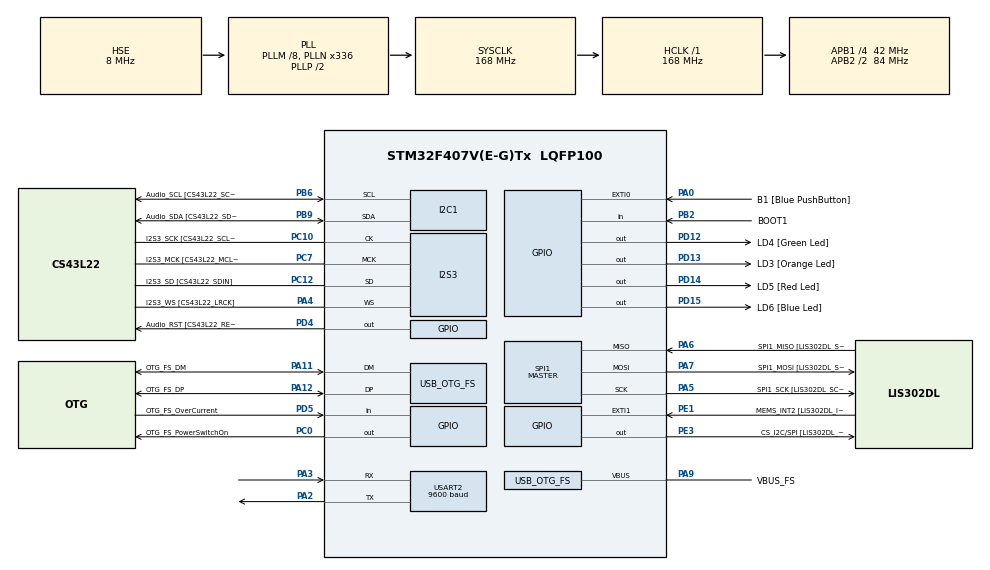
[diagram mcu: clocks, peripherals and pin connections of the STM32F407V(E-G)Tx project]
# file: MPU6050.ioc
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I2S3.AudioFreq-Half_Duplex_Master=I2S_AUDIOFREQ_96K
I2S3.ErrorAudioFreq=-2.34 %
I2S3.ErrorAudioFreq-Half_Duplex_Master=0.8 %
I2S3.FullDuplexMode=I2S_FULLDUPLEXMODE_DISABLE
I2S3.Instance=SPI$Index
I2S3.RealAudioFreq=93.75 KHz
I2S3.RealAudioFreq-Half_Duplex_Master=96.774 KHz
I2S3.VirtualMode=I2S_MODE_MASTER
Mcu.Family=STM32F4
Mcu.Name=STM32F407V(E-G)Tx
Mcu.Package=LQFP100
NVIC.OTG_FS_IRQn=true\:0\:0\:false\:false\:true\:true\:true\:true
NVIC.PriorityGroup=NVIC_PRIORITYGROUP_0
PA0-WKUP.GPIO_Label=B1 [Blue PushButton]
PA0-WKUP.GPIO_ModeDefaultEXTI=GPIO_MODE_EVT_RISING
PA0-WKUP.GPIO_PuPd=GPIO_NOPULL
PA0-WKUP.Signal=GPXTI0
PA10.GPIO_Label=OTG_FS_ID
PA10.GPIO_Mode=GPIO_MODE_AF_PP
PA10.GPIO_PuPd=GPIO_NOPULL
PA10.GPIO_Speed=GPIO_SPEED_FREQ_LOW
PA10.Signal=USB_OTG_FS_ID
PA11.GPIO_Label=OTG_FS_DM
PA11.GPIO_Mode=GPIO_MODE_AF_PP
PA11.GPIO_PuPd=GPIO_NOPULL
PA11.GPIO_Speed=GPIO_SPEED_FREQ_LOW
PA11.Mode=Host_Only
PA11.Signal=USB_OTG_FS_DM
PA12.GPIO_Label=OTG_FS_DP
PA12.GPIO_Mode=GPIO_MODE_AF_PP
PA12.GPIO_PuPd=GPIO_NOPULL
PA12.GPIO_Speed=GPIO_SPEED_FREQ_LOW
PA12.Mode=Host_Only
PA12.Signal=USB_OTG_FS_DP
PA13.GPIO_Label=SWDIO
PA13.Mode=Serial_Wire
PA13.Signal=SYS_JTMS-SWDIO
PA14.GPIO_Label=SWCLK
PA14.Mode=Serial_Wire
PA14.Signal=SYS_JTCK-SWCLK
PA2.Mode=Asynchronous
PA2.Signal=USART2_TX
PA3.Mode=Asynchronous
PA3.Signal=USART2_RX
PA4.GPIO_Label=I2S3_WS [CS43L22_LRCK]
PA4.GPIO_Mode=GPIO_MODE_AF_PP
PA4.GPIO_PuPd=GPIO_NOPULL
PA4.GPIO_Speed=GPIO_SPEED_FREQ_LOW
PA4.Mode=Half_Duplex_Master
PA4.Signal=I2S3_WS
PA5.GPIO_Label=SPI1_SCK [LIS302DL_SCL/SPC]
PA5.GPIO_Mode=GPIO_MODE_AF_PP
PA5.GPIO_PuPd=GPIO_NOPULL
PA5.GPIO_Speed=GPIO_SPEED_FREQ_LOW
PA5.Mode=Full_Duplex_Master
PA5.Signal=SPI1_SCK
PA6.GPIO_Label=SPI1_MISO [LIS302DL_SDO]
PA6.GPIO_Mode=GPIO_MODE_AF_PP
PA6.GPIO_PuPd=GPIO_NOPULL
PA6.GPIO_Speed=GPIO_SPEED_FREQ_LOW
PA6.Mode=Full_Duplex_Master
PA6.Signal=SPI1_MISO
PA7.GPIO_Label=SPI1_MOSI [LIS302DL_SDA/SDI/SDO]
PA7.GPIO_Mode=GPIO_MODE_AF_PP
PA7.GPIO_PuPd=GPIO_NOPULL
PA7.GPIO_Speed=GPIO_SPEED_FREQ_LOW
PA7.Mode=Full_Duplex_Master
PA7.Signal=SPI1_MOSI
PA9.GPIO_Label=VBUS_FS
PA9.GPIO_Mode=GPIO_MODE_INPUT
PA9.GPIO_PuPd=GPIO_NOPULL
PA9.Mode=Activate_VBUS
PA9.Signal=USB_OTG_FS_VBUS
PB10.GPIO_Label=CLK_IN [MP45DT02_CLK]
PB10.GPIO_Mode=GPIO_MODE_AF_PP
PB10.GPIO_PuPd=GPIO_NOPULL
PB10.GPIO_Speed=GPIO_SPEED_FREQ_LOW
PB10.Signal=I2S2_CK
PB2.GPIO_Label=BOOT1
PB2.GPIO_Mode=GPIO_MODE_INPUT
PB2.GPIO_PuPd=GPIO_NOPULL
PB2.Signal=GPIO_Input
PB3.GPIO_Label=SWO
PB3.Signal=SYS_JTDO-SWO
PB6.GPIO_Label=Audio_SCL [CS43L22_SCL]
PB6.GPIO_Mode=GPIO_MODE_AF_OD
PB6.GPIO_Pu=GPIO_PULLUP
PB6.GPIO_PuPd=GPIO_NOPULL
PB6.GPIO_Speed=GPIO_SPEED_FREQ_LOW
PB6.Mode=I2C
PB6.Signal=I2C1_SCL
PB9.GPIO_Label=Audio_SDA [CS43L22_SDA]
PB9.GPIO_Mode=GPIO_MODE_AF_OD
PB9.GPIO_Pu=GPIO_PULLUP
PB9.GPIO_PuPd=GPIO_NOPULL
PB9.GPIO_Speed=GPIO_SPEED_FREQ_LOW
PB9.Mode=I2C
PB9.Signal=I2C1_SDA
PC0.GPIO_Label=OTG_FS_PowerSwitchOn
PC0.GPIO_PuPd=GPIO_NOPULL
PC0.GPIO_Speed=GPIO_SPEED_FREQ_LOW
PC0.PinState=GPIO_PIN_SET
PC0.Signal=GPIO_Output
PC10.GPIO_Label=I2S3_SCK [CS43L22_SCLK]
PC10.GPIO_Mode=GPIO_MODE_AF_PP
PC10.GPIO_PuPd=GPIO_NOPULL
PC10.GPIO_Speed=GPIO_SPEED_FREQ_LOW
PC10.Mode=Half_Duplex_Master
PC10.Signal=I2S3_CK
PC12.GPIO_Label=I2S3_SD [CS43L22_SDIN]
PC12.GPIO_Mode=GPIO_MODE_AF_PP
PC12.GPIO_PuPd=GPIO_NOPULL
PC12.GPIO_Speed=GPIO_SPEED_FREQ_LOW
PC12.Mode=Half_Duplex_Master
PC12.Signal=I2S3_SD
PC14-OSC32_IN.GPIO_Label=PC14-OSC32_IN
PC14-OSC32_IN.Mode=LSE-External-Oscillator
PC14-OSC32_IN.Signal=RCC_OSC32_IN
PC15-OSC32_OUT.GPIO_Label=PC15-OSC32_OUT
PC15-OSC32_OUT.Mode=LSE-External-Oscillator
PC15-OSC32_OUT.Signal=RCC_OSC32_OUT
PC3.GPIO_Label=PDM_OUT [MP45DT02_DOUT]
PC3.GPIO_Mode=GPIO_MODE_AF_PP
PC3.GPIO_PuPd=GPIO_NOPULL
PC3.GPIO_Speed=GPIO_SPEED_FREQ_LOW
PC3.Signal=I2S2_SD
PC7.GPIO_Label=I2S3_MCK [CS43L22_MCLK]
PC7.GPIO_Mode=GPIO_MODE_AF_PP
PC7.GPIO_PuPd=GPIO_NOPULL
PC7.GPIO_Speed=GPIO_SPEED_FREQ_LOW
PC7.Mode=Master_Clock_Activated
PC7.Signal=I2S3_MCK
PD12.GPIO_Label=LD4 [Green Led]
PD12.GPIO_PuPd=GPIO_NOPULL
PD12.GPIO_Speed=GPIO_SPEED_FREQ_LOW
PD12.Signal=GPIO_Output
PD13.GPIO_Label=LD3 [Orange Led]
PD13.GPIO_PuPd=GPIO_NOPULL
PD13.GPIO_Speed=GPIO_SPEED_FREQ_LOW
PD13.Signal=GPIO_Output
PD14.GPIO_Label=LD5 [Red Led]
PD14.GPIO_PuPd=GPIO_NOPULL
PD14.GPIO_Speed=GPIO_SPEED_FREQ_LOW
PD14.Signal=GPIO_Output
PD15.GPIO_Label=LD6 [Blue Led]
PD15.GPIO_PuPd=GPIO_NOPULL
PD15.GPIO_Speed=GPIO_SPEED_FREQ_LOW
PD15.Signal=GPIO_Output
PD4.GPIO_Label=Audio_RST [CS43L22_RESET]
PD4.GPIO_PuPd=GPIO_NOPULL
PD4.GPIO_Speed=GPIO_SPEED_FREQ_LOW
PD4.Signal=GPIO_Output
PD5.GPIO_Label=OTG_FS_OverCurrent
PD5.GPIO_Mode=GPIO_MODE_INPUT
PD5.GPIO_PuPd=GPIO_NOPULL
PD5.Signal=GPIO_Input
PE1.GPIO_Label=MEMS_INT2 [LIS302DL_INT2]
PE1.GPIO_ModeDefaultEXTI=GPIO_MODE_EVT_RISING
PE1.GPIO_PuPd=GPIO_NOPULL
PE1.Signal=GPXTI1
PE3.GPIO_Label=CS_I2C/SPI [LIS302DL_CS_I2C/SPI]
PE3.GPIO_PuPd=GPIO_NOPULL
PE3.GPIO_Speed=GPIO_SPEED_FREQ_LOW
PE3.Signal=GPIO_Output
PH0-OSC_IN.GPIO_Label=PH0-OSC_IN
PH0-OSC_IN.Mode=HSE-External-Oscillator
PH0-OSC_IN.Signal=RCC_OSC_IN
PH1-OSC_OUT.GPIO_Label=PH1-OSC_OUT
PH1-OSC_OUT.Mode=HSE-External-Oscillator
PH1-OSC_OUT.Signal=RCC_OSC_OUT
ProjectManager.HeapSize=0x200
ProjectManager.StackSize=0x400
ProjectManager.TargetToolchain=STM32CubeIDE
RCC.48MHZClocksFreq_Value=48000000
RCC.AHBFreq_Value=168000000
RCC.APB1CLKDivider=RCC_HCLK_DIV4
RCC.APB1Freq_Value=42000000
RCC.APB1TimFreq_Value=84000000
RCC.APB2CLKDivider=RCC_HCLK_DIV2
RCC.APB2Freq_Value=84000000
RCC.APB2TimFreq_Value=168000000
RCC.CortexFreq_Value=168000000
RCC.HCLKFreq_Value=168000000
RCC.HSE_VALUE=8000000
RCC.HSI_VALUE=16000000
RCC.PLLM=8
RCC.PLLN=336
RCC.PLLQ=7
RCC.SYSCLKFreq_VALUE=168000000
RCC.SYSCLKSource=RCC_SYSCLKSOURCE_PLLCLK
RCC.VCOOutputFreq_Value=336000000
SPI1.BaudRatePrescaler-Full_Duplex_Master=SPI_BAUDRATEPRESCALER_2
SPI1.CalculateBaudRate-Full_Duplex_Master=42.0 MBits/s
SPI1.Direction=SPI_DIRECTION_2LINES
SPI1.Mode=SPI_MODE_MASTER
SPI1.Mode-Full_Duplex_Master=SPI_MODE_MASTER
SPI1.VirtualType=VM_MASTER
USART2.BaudRate=9600
USART2.VirtualMode=VM_ASYNC
USB_HOST.BSP.number=1
USB_HOST.USBH_HandleTypeDef-CDC_FS=hUsbHostFS
USB_HOST.VirtualModeFS=Cdc
USB_HOST0.BSP.STBoard=false
USB_HOST0.BSP.api=Unknown
USB_HOST0.BSP.instance=PC0
USB_HOST0.BSP.ip=GPIO
USB_HOST0.BSP.mode=Output
USB_HOST0.BSP.name=Drive_VBUS_FS
USB_HOST0.BSP.solution=PC0
USB_OTG_FS.VirtualMode=Host_Only
USB_OTG_FS.phy_itface=HCD_PHY_EMBEDDED
VP_USB_HOST_VS_USB_HOST_CDC_FS.Mode=CDC_FS
board=STM32F407G-DISC1

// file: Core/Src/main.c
/* USER CODE BEGIN Header */
/**
 ******************************************************************************
 * @file           : main.c
 * @brief          : Main program body
 ******************************************************************************
 * @attention
 *
 * Copyright (c) 2025 STMicroelectronics.
 * All rights reserved.
 *
 * This software is licensed under terms that can be found in the LICENSE file
 * in the root directory of this software component.
 * If no LICENSE file comes with this software, it is provided AS-IS.
 *
 ******************************************************************************
 */
/* USER CODE END Header */
#include "main.h"
#include "usb_host.h"
#include <stdio.h>
#include <string.h>

/* USER CODE BEGIN PD */
#define MPU6050_REG_PWR_MGMT_1    0x6B
#define MPU6050_REG_ACCEL_XOUT_H  0x3B
#define MPU6050_REG_WHO_AM_I      0x75
#define MPU6050_ADDR              0x68 << 1 // MPU6050 I2C address (shifted for HAL I2C)
#define MPU6050_REG_GYRO_XOUT_H   0x43
#define MPU6050_REG_TEMP_OUT_H    0x41

/* USER CODE END PD */

I2C_HandleTypeDef hi2c1;

I2S_HandleTypeDef hi2s3;

SPI_HandleTypeDef hspi1;

UART_HandleTypeDef huart2;

void SystemClock_Config(void);
static void MX_GPIO_Init(void);
static void MX_I2C1_Init(void);
static void MX_I2S3_Init(void);
static void MX_SPI1_Init(void);
static void MX_USART2_UART_Init(void);
void MX_USB_HOST_Process(void);
void MPU6050_Init(void);
void MPU6050_Read_Accel(int16_t *accel_data);

/* USER CODE BEGIN 0 */

// Initialize MPU6050
void MPU6050_Init(void) {
	uint8_t check, data;

	// Check MPU6050 device ID
	HAL_I2C_Mem_Read(&hi2c1, MPU6050_ADDR, MPU6050_REG_WHO_AM_I, 1, &check, 1,
			100);

	if (check == 0x68) { // 0x68 is the expected device ID
		// Wake up MPU6050 by writing 0 to PWR_MGMT_1 register
		data = 0x00;
		HAL_I2C_Mem_Write(&hi2c1, MPU6050_ADDR, MPU6050_REG_PWR_MGMT_1, 1,
				&data, 1, 100);

		HAL_UART_Transmit(&huart2, (uint8_t*) "MPU6050 initialized\r\n", 21,
		HAL_MAX_DELAY);
	} else {
		HAL_UART_Transmit(&huart2,
				(uint8_t*) "Failed to initialize MPU6050\r\n", 30,
				HAL_MAX_DELAY);
	}
}

// Read accelerometer data
void MPU6050_Read_Accel(int16_t *accel_data) {
	uint8_t data[6];

	// Read 6 bytes of data starting from ACCEL_XOUT_H register
	HAL_I2C_Mem_Read(&hi2c1, MPU6050_ADDR, MPU6050_REG_ACCEL_XOUT_H, 1, data, 6,
			100);

	// Combine the high and low bytes
	accel_data[0] = (int16_t) (data[0] << 8 | data[1]);  // X-axis
	accel_data[1] = (int16_t) (data[2] << 8 | data[3]);  // Y-axis
	accel_data[2] = (int16_t) (data[4] << 8 | data[5]);  // Z-axis
}

//Read gyroscope data
void MPU6050_Read_Gyro(int16_t *gyro_data) {
	uint8_t data[6];

	// Read 6 bytes of data starting from GYRO_XOUT_H register
	HAL_I2C_Mem_Read(&hi2c1, MPU6050_ADDR, MPU6050_REG_GYRO_XOUT_H, 1, data, 6,
			100);

	// Combine the high and low bytes
	gyro_data[0] = (int16_t) (data[0] << 8 | data[1]);  // X-axis
	gyro_data[1] = (int16_t) (data[2] << 8 | data[3]);  // Y-axis
	gyro_data[2] = (int16_t) (data[4] << 8 | data[5]);  // Z-axis
}

// Read temperature data (optional, not used in this example)
void MPU6050_Read_Temp(int16_t *temp_data) {
	uint8_t data[2];

	// Read 2 bytes of data starting from TEMP_OUT_H register
	HAL_I2C_Mem_Read(&hi2c1, MPU6050_ADDR, MPU6050_REG_TEMP_OUT_H, 1, data, 2,
			100);

	// Combine the high and low bytes
	*temp_data = (int16_t) (data[0] << 8 | data[1]);
}

/* USER CODE END 0 */

int main(void) {

	/* MCU Configuration--------------------------------------------------------*/

	/* Reset of all peripherals, Initializes the Flash interface and the Systick. */
	HAL_Init();

	/* Configure the system clock */
	SystemClock_Config();

	/* Initialize all configured peripherals */
	MX_GPIO_Init();
	MX_I2C1_Init();
	MX_I2S3_Init();
	MX_SPI1_Init();
	MX_USB_HOST_Init();
	MX_USART2_UART_Init();

	/* Infinite loop */
	while (1) {
		MX_USB_HOST_Process();

		/* USER CODE BEGIN 3 */
		// Initialize MPU6050
		MPU6050_Init();
		// Wait a bit for stable readings
		HAL_Delay(100);

		// Read and display accelerometer data
		int16_t accel_data[3];
		int16_t gyro_data[3];
		int16_t temp_data;
		MPU6050_Read_Accel(accel_data);
		MPU6050_Read_Gyro(gyro_data);
		MPU6050_Read_Temp(&temp_data);

		// Convert to string and display
		char buffer[100];
		sprintf(buffer, "Accel X: %d, Y: %d, Z: %d\r\n", accel_data[0],
				accel_data[1], accel_data[2]);
		HAL_UART_Transmit(&huart2, (uint8_t*) buffer, strlen(buffer),
		HAL_MAX_DELAY);
		sprintf(buffer, "Gyro X: %d, Y: %d, Z: %d\r\n", gyro_data[0],
				gyro_data[1], gyro_data[2]);
		HAL_UART_Transmit(&huart2, (uint8_t*) buffer, strlen(buffer),
		HAL_MAX_DELAY);
		sprintf(buffer, "Temp: %d\r\n", temp_data);
		HAL_UART_Transmit(&huart2, (uint8_t*) buffer, strlen(buffer),
		HAL_MAX_DELAY);

		// Wait before next reading
		HAL_Delay(2000);

	}
	/* USER CODE END 3 */
}

void SystemClock_Config(void) {
	RCC_OscInitTypeDef RCC_OscInitStruct = { 0 };
	RCC_ClkInitTypeDef RCC_ClkInitStruct = { 0 };

	/** Configure the main internal regulator output voltage
	 */
	__HAL_RCC_PWR_CLK_ENABLE();
	__HAL_PWR_VOLTAGESCALING_CONFIG(PWR_REGULATOR_VOLTAGE_SCALE1);

	/** Initializes the RCC Oscillators according to the specified parameters
	 * in the RCC_OscInitTypeDef structure.
	 */
	RCC_OscInitStruct.OscillatorType = RCC_OSCILLATORTYPE_HSE;
	RCC_OscInitStruct.HSEState = RCC_HSE_ON;
	RCC_OscInitStruct.PLL.PLLState = RCC_PLL_ON;
	RCC_OscInitStruct.PLL.PLLSource = RCC_PLLSOURCE_HSE;
	RCC_OscInitStruct.PLL.PLLM = 8;
	RCC_OscInitStruct.PLL.PLLN = 336;
	RCC_OscInitStruct.PLL.PLLP = RCC_PLLP_DIV2;
	RCC_OscInitStruct.PLL.PLLQ = 7;
	if (HAL_RCC_OscConfig(&RCC_OscInitStruct) != HAL_OK) {
		Error_Handler();
	}

	/** Initializes the CPU, AHB and APB buses clocks
	 */
	RCC_ClkInitStruct.ClockType = RCC_CLOCKTYPE_HCLK | RCC_CLOCKTYPE_SYSCLK
			| RCC_CLOCKTYPE_PCLK1 | RCC_CLOCKTYPE_PCLK2;
	RCC_ClkInitStruct.SYSCLKSource = RCC_SYSCLKSOURCE_PLLCLK;
	RCC_ClkInitStruct.AHBCLKDivider = RCC_SYSCLK_DIV1;
	RCC_ClkInitStruct.APB1CLKDivider = RCC_HCLK_DIV4;
	RCC_ClkInitStruct.APB2CLKDivider = RCC_HCLK_DIV2;

	if (HAL_RCC_ClockConfig(&RCC_ClkInitStruct, FLASH_LATENCY_5) != HAL_OK) {
		Error_Handler();
	}
}

static void MX_I2C1_Init(void) {

	hi2c1.Instance = I2C1;
	hi2c1.Init.ClockSpeed = 100000;
	hi2c1.Init.DutyCycle = I2C_DUTYCYCLE_2;
	hi2c1.Init.OwnAddress1 = 0;
	hi2c1.Init.AddressingMode = I2C_ADDRESSINGMODE_7BIT;
	hi2c1.Init.DualAddressMode = I2C_DUALADDRESS_DISABLE;
	hi2c1.Init.OwnAddress2 = 0;
	hi2c1.Init.GeneralCallMode = I2C_GENERALCALL_DISABLE;
	hi2c1.Init.NoStretchMode = I2C_NOSTRETCH_DISABLE;
	if (HAL_I2C_Init(&hi2c1) != HAL_OK) {
		Error_Handler();
	}

}

static void MX_I2S3_Init(void) {

	hi2s3.Instance = SPI3;
	hi2s3.Init.Mode = I2S_MODE_MASTER_TX;
	hi2s3.Init.Standard = I2S_STANDARD_PHILIPS;
	hi2s3.Init.DataFormat = I2S_DATAFORMAT_16B;
	hi2s3.Init.MCLKOutput = I2S_MCLKOUTPUT_ENABLE;
	hi2s3.Init.AudioFreq = I2S_AUDIOFREQ_96K;
	hi2s3.Init.CPOL = I2S_CPOL_LOW;
	hi2s3.Init.ClockSource = I2S_CLOCK_PLL;
	hi2s3.Init.FullDuplexMode = I2S_FULLDUPLEXMODE_DISABLE;
	if (HAL_I2S_Init(&hi2s3) != HAL_OK) {
		Error_Handler();
	}

}

static void MX_SPI1_Init(void) {

	/* SPI1 parameter configuration*/
	hspi1.Instance = SPI1;
	hspi1.Init.Mode = SPI_MODE_MASTER;
	hspi1.Init.Direction = SPI_DIRECTION_2LINES;
	hspi1.Init.DataSize = SPI_DATASIZE_8BIT;
	hspi1.Init.CLKPolarity = SPI_POLARITY_LOW;
	hspi1.Init.CLKPhase = SPI_PHASE_1EDGE;
	hspi1.Init.NSS = SPI_NSS_SOFT;
	hspi1.Init.BaudRatePrescaler = SPI_BAUDRATEPRESCALER_2;
	hspi1.Init.FirstBit = SPI_FIRSTBIT_MSB;
	hspi1.Init.TIMode = SPI_TIMODE_DISABLE;
	hspi1.Init.CRCCalculation = SPI_CRCCALCULATION_DISABLE;
	hspi1.Init.CRCPolynomial = 10;
	if (HAL_SPI_Init(&hspi1) != HAL_OK) {
		Error_Handler();
	}

}

static void MX_USART2_UART_Init(void) {

	huart2.Instance = USART2;
	huart2.Init.BaudRate = 9600;
	huart2.Init.WordLength = UART_WORDLENGTH_8B;
	huart2.Init.StopBits = UART_STOPBITS_1;
	huart2.Init.Parity = UART_PARITY_NONE;
	huart2.Init.Mode = UART_MODE_TX_RX;
	huart2.Init.HwFlowCtl = UART_HWCONTROL_NONE;
	huart2.Init.OverSampling = UART_OVERSAMPLING_16;
	if (HAL_UART_Init(&huart2) != HAL_OK) {
		Error_Handler();
	}

}

static void MX_GPIO_Init(void) {
	GPIO_InitTypeDef GPIO_InitStruct = { 0 };

	/* GPIO Ports Clock Enable */
	__HAL_RCC_GPIOE_CLK_ENABLE();
	__HAL_RCC_GPIOC_CLK_ENABLE();
	__HAL_RCC_GPIOH_CLK_ENABLE();
	__HAL_RCC_GPIOA_CLK_ENABLE();
	__HAL_RCC_GPIOB_CLK_ENABLE();
	__HAL_RCC_GPIOD_CLK_ENABLE();

	/*Configure GPIO pin Output Level */
	HAL_GPIO_WritePin(CS_I2C_SPI_GPIO_Port, CS_I2C_SPI_Pin, GPIO_PIN_RESET);

	/*Configure GPIO pin Output Level */
	HAL_GPIO_WritePin(OTG_FS_PowerSwitchOn_GPIO_Port,
	OTG_FS_PowerSwitchOn_Pin, GPIO_PIN_SET);

	/*Configure GPIO pin Output Level */
	HAL_GPIO_WritePin(GPIOD,
	LD4_Pin | LD3_Pin | LD5_Pin | LD6_Pin | Audio_RST_Pin, GPIO_PIN_RESET);

	/*Configure GPIO pin : CS_I2C_SPI_Pin */
	GPIO_InitStruct.Pin = CS_I2C_SPI_Pin;
	GPIO_InitStruct.Mode = GPIO_MODE_OUTPUT_PP;
	GPIO_InitStruct.Pull = GPIO_NOPULL;
	GPIO_InitStruct.Speed = GPIO_SPEED_FREQ_LOW;
	HAL_GPIO_Init(CS_I2C_SPI_GPIO_Port, &GPIO_InitStruct);

	/*Configure GPIO pin : OTG_FS_PowerSwitchOn_Pin */
	GPIO_InitStruct.Pin = OTG_FS_PowerSwitchOn_Pin;
	GPIO_InitStruct.Mode = GPIO_MODE_OUTPUT_PP;
	GPIO_InitStruct.Pull = GPIO_NOPULL;
	GPIO_InitStruct.Speed = GPIO_SPEED_FREQ_LOW;
	HAL_GPIO_Init(OTG_FS_PowerSwitchOn_GPIO_Port, &GPIO_InitStruct);

	/*Configure GPIO pin : PDM_OUT_Pin */
	GPIO_InitStruct.Pin = PDM_OUT_Pin;
	GPIO_InitStruct.Mode = GPIO_MODE_AF_PP;
	GPIO_InitStruct.Pull = GPIO_NOPULL;
	GPIO_InitStruct.Speed = GPIO_SPEED_FREQ_LOW;
	GPIO_InitStruct.Alternate = GPIO_AF5_SPI2;
	HAL_GPIO_Init(PDM_OUT_GPIO_Port, &GPIO_InitStruct);

	/*Configure GPIO pin : B1_Pin */
	GPIO_InitStruct.Pin = B1_Pin;
	GPIO_InitStruct.Mode = GPIO_MODE_EVT_RISING;
	GPIO_InitStruct.Pull = GPIO_NOPULL;
	HAL_GPIO_Init(B1_GPIO_Port, &GPIO_InitStruct);

	/*Configure GPIO pin : BOOT1_Pin */
	GPIO_InitStruct.Pin = BOOT1_Pin;
	GPIO_InitStruct.Mode = GPIO_MODE_INPUT;
	GPIO_InitStruct.Pull = GPIO_NOPULL;
	HAL_GPIO_Init(BOOT1_GPIO_Port, &GPIO_InitStruct);

	/*Configure GPIO pin : CLK_IN_Pin */
	GPIO_InitStruct.Pin = CLK_IN_Pin;
	GPIO_InitStruct.Mode = GPIO_MODE_AF_PP;
	GPIO_InitStruct.Pull = GPIO_NOPULL;
	GPIO_InitStruct.Speed = GPIO_SPEED_FREQ_LOW;
	GPIO_InitStruct.Alternate = GPIO_AF5_SPI2;
	HAL_GPIO_Init(CLK_IN_GPIO_Port, &GPIO_InitStruct);

	/*Configure GPIO pins : LD4_Pin LD3_Pin LD5_Pin LD6_Pin
	 Audio_RST_Pin */
	GPIO_InitStruct.Pin = LD4_Pin | LD3_Pin | LD5_Pin | LD6_Pin | Audio_RST_Pin;
	GPIO_InitStruct.Mode = GPIO_MODE_OUTPUT_PP;
	GPIO_InitStruct.Pull = GPIO_NOPULL;
	GPIO_InitStruct.Speed = GPIO_SPEED_FREQ_LOW;
	HAL_GPIO_Init(GPIOD, &GPIO_InitStruct);

	/*Configure GPIO pin : OTG_FS_OverCurrent_Pin */
	GPIO_InitStruct.Pin = OTG_FS_OverCurrent_Pin;
	GPIO_InitStruct.Mode = GPIO_MODE_INPUT;
	GPIO_InitStruct.Pull = GPIO_NOPULL;
	HAL_GPIO_Init(OTG_FS_OverCurrent_GPIO_Port, &GPIO_InitStruct);

	/*Configure GPIO pin : MEMS_INT2_Pin */
	GPIO_InitStruct.Pin = MEMS_INT2_Pin;
	GPIO_InitStruct.Mode = GPIO_MODE_EVT_RISING;
	GPIO_InitStruct.Pull = GPIO_NOPULL;
	HAL_GPIO_Init(MEMS_INT2_GPIO_Port, &GPIO_InitStruct);

}

void Error_Handler(void) {
	__disable_irq();
	while (1) {
	}
}
